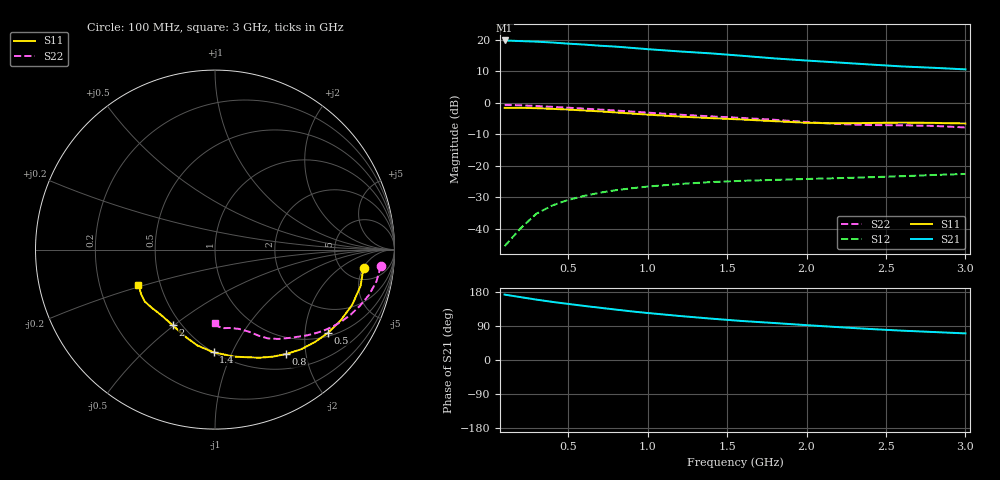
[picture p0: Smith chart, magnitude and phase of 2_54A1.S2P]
! Filename: 2_54G1.001
! Title: BGA2001 X0297-20 HFE=80
! Bias: Vce=2.5V; Ic=4mA
! Company: Philips Semiconductors NL
! User: Quality&Reliability T&D
! Measure time: 23 Oct 1998 / 08:33:48
#  MHz  S  MA  R 50
! Freq  S11  S21  S12  S22  :
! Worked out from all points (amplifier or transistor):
!   20 points, 100 MHz to 3 GHz, reference 50 ohm
!   highest |S21| = 19.9 dB at 100 MHz (marker M1)
!   |S21| within 3 dB of that: start of sweep to 1.064 GHz
!   unconditionally stable (mu >= 1): 2.126 GHz to end of sweep
!   at 400 MHz: K = 0.21, MSG = 25.9 dB, |S12| = -32.7 dB
!   at 1.2 GHz: K = 0.53, MSG = 21.1 dB, |S12| = -25.8 dB
!   at 3 GHz: K = 1.22, MAG = 13.8 dB, |S12| = -22.6 dB
!   lowest NFmin = 1.22 dB at 1.8 GHz
!   S11 on the Smith chart (normalised r, x): 100 MHz: 7.68, -5.03; 500 MHz: 1.11, -2.64; 800 MHz: 0.72, -1.66; 1.4 GHz: 0.50, -0.85; 2 GHz: 0.45, -0.49; 3 GHz: 0.38, -0.19
100  0.8336 -6.9  9.855 172.6  0.005249 58.5  0.9282 -5.6
200  0.836 -14.1  9.63 165.9  0.01008 80.3  0.9171 -11.1
300  0.824 -21.9  9.435 159.4  0.01725 79.3  0.8945 -16.4
400  0.8041 -29.3  9.143 153.4  0.0233 74.6  0.8657 -21.2
500  0.7826 -36.2  8.767 147.9  0.02856 70.5  0.8385 -25.6
600  0.7579 -43.0  8.477 142.8  0.03315 66.9  0.8109 -29.6
700  0.7333 -49.3  8.127 137.9  0.03725 63.8  0.7837 -33.2
800  0.7043 -55.7  7.861 133.0  0.04083 60.9  0.7555 -36.7
900  0.677 -61.8  7.511 128.2  0.04382 58.5  0.7276 -39.8
1000  0.6508 -67.8  7.166 124.1  0.0466 56.5  0.7002 -43.0
1200  0.6066 -79.6  6.592 116.2  0.0512 53.0  0.6496 -49.1
1400  0.5726 -90.8  6.134 109.1  0.05503 50.4  0.6104 -54.6
1600  0.5434 -100.3  5.606 102.8  0.05762 49.0  0.5757 -59.3
1800  0.5115 -109.3  5.102 97.5  0.05959 49.0  0.5383 -63.1
2000  0.4829 -119.2  4.723 92.0  0.06154 48.2  0.4962 -67.4
2200  0.4722 -129.5  4.394 86.8  0.06349 47.6  0.4615 -73.2
2400  0.4793 -137.8  4.084 81.8  0.06564 48.0  0.4441 -79.5
2600  0.4869 -143.7  3.806 77.4  0.06814 49.5  0.4402 -84.2
2800  0.4805 -149.0  3.619 73.8  0.07128 50.0  0.4304 -87.1
3000  0.4698 -155.3  3.415 70.2  0.074 50.9  0.4068 -90.1
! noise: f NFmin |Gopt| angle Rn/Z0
900  1.25  0.38  19.1  0.29
1000  1.29  0.36  15.6  0.29
1800  1.222  0.331  64.56  0.233
2000  1.246  0.303  72.5  0.251
2200  1.402  0.246  83.7  0.215
2400  1.526  0.227  96.28  0.203
